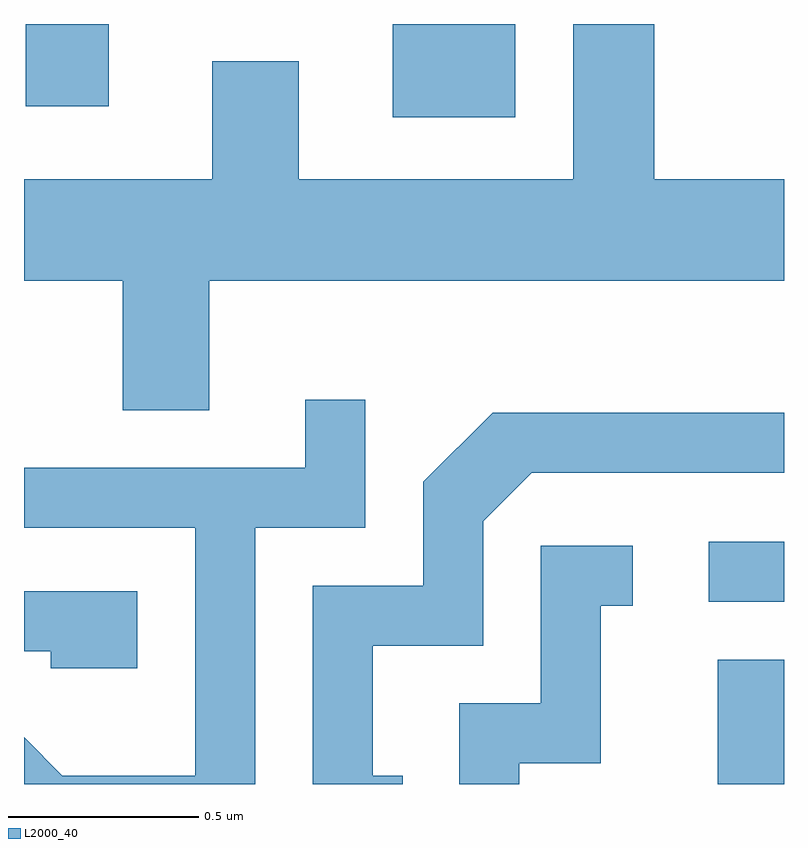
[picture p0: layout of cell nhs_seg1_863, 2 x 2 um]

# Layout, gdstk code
import gdstk
lib = gdstk.Library(unit=1e-6, precision=1e-09)
def R(c, l, rs):  # rectangles x0, y0, x1, y1
    for r in rs: c.add(gdstk.rectangle(r[:2], r[2:], *l))
def P(c, l, *ps):  # polygons
    for p in ps: c.add(gdstk.Polygon(p, *l))
L2000_40 = (2000, 40)

nhs_seg1_863 = lib.new_cell('nhs_seg1_863')
R(nhs_seg1_863, L2000_40, [(193.436,882.712,193.611,883.039), (193.413,883.191,193.611,883.349), (192.581,884.466,192.904,884.712), (191.616,884.496,191.834,884.712)])
P(nhs_seg1_863, L2000_40, [(192.099,884.036),(193.611,884.036),(193.611,884.304),(193.269,884.304),(193.269,884.712),(193.056,884.712),(193.056,884.304),(192.334,884.304),(192.334,884.614),(192.106,884.614),(192.106,884.304),(191.611,884.304),(191.611,884.036),(191.871,884.036),(191.871,883.696),(192.099,883.696)],
  [(192.219,883.386),(192.509,883.386),(192.509,883.723),(192.351,883.723),(192.351,883.544),(191.611,883.544),(191.611,883.386),(192.061,883.386),(192.061,882.734),(191.712,882.734),(191.611,882.835),(191.611,882.712),(192.219,882.712)],
  [(192.608,882.734),(192.529,882.734),(192.529,883.076),(192.819,883.076),(192.819,883.404),(192.947,883.531),(193.611,883.531),(193.611,883.689),(192.844,883.689),(192.661,883.507),(192.661,883.234),(192.371,883.234),(192.371,882.712),(192.608,882.712)],
  [(192.914,882.766),(193.129,882.766),(193.129,883.181),(193.213,883.181),(193.213,883.339),(192.971,883.339),(192.971,882.924),(192.756,882.924),(192.756,882.712),(192.914,882.712)],
  [(191.909,883.219),(191.611,883.219),(191.611,883.061),(191.681,883.061),(191.681,883.016),(191.909,883.016)])

lib.write_gds('nhs_seg1_863.gds')
